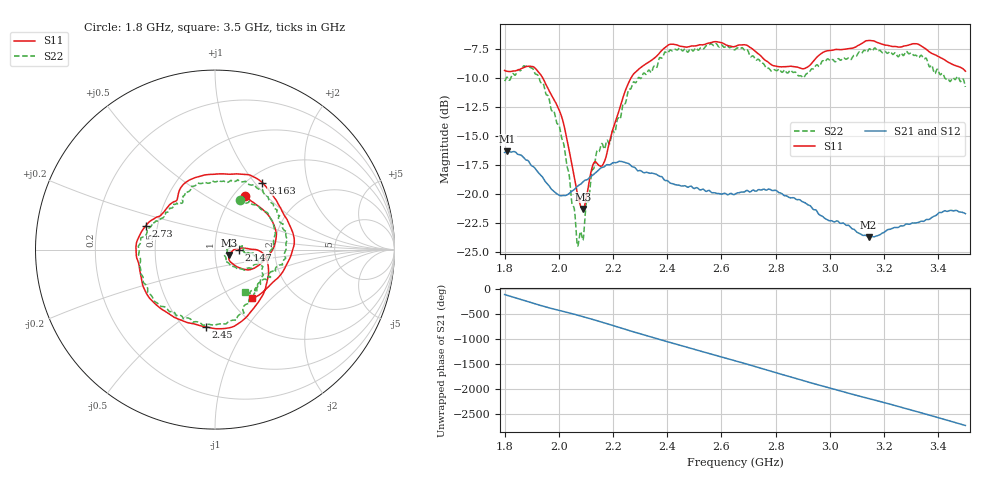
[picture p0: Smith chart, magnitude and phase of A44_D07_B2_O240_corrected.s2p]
! Created with skrf 1.9.0 (http://scikit-rf.org).
# Hz S RI R 50.0
!freq ReS11 ImS11 ReS21 ImS21 ReS12 ImS12 ReS22 ImS22
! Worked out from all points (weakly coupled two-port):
!   1601 points, 1.8 GHz to 3.5 GHz, reference 50 ohm
!   highest |S21| = -16.32 dB at 1.811 GHz (marker M1); lowest = -23.7 dB at 3.143 GHz (marker M2)
!   lowest |S11| = -21.3 dB at 2.089 GHz (marker M3), VSWR 1.19, Z = 58.7 - j3.51 ohm
!   |S11| at or under -10 dB: 1.941 GHz to 2.266 GHz (325.2 MHz wide, 15.5 % of centre)
!   |S22| runs from -24.5 to -7.0 dB; largest |S21 - S12| = 0.0029
!   S11 on the Smith chart (normalised r, x): 1.8 GHz: 1.12, +0.76; 2.147 GHz: 1.31, -0.01; 2.45 GHz: 0.63, -0.67; 2.73 GHz: 0.43, +0.14; 3.163 GHz: 1.16, +1.10; 3.5 GHz: 1.27, -0.76
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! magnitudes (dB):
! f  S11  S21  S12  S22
! 1.8 GHz  -9.3  -16.4  -16.4  -10.3
! 1.811 GHz  -9.4  -16.3  -16.3  -9.9
! 1.882 GHz  -9.0  -17.1  -17.1  -9.0
! 1.942 GHz  -10.1  -18.6  -18.6  -10.5
! 2.011 GHz  -13.4  -20.2  -20.2  -15.3
! 2.068 GHz  -19.9  -19.4  -19.4  -24.4
! 2.084 GHz  -21.2  -19.1  -19.1  -23.5
! 2.089 GHz  -21.3  -19.0  -19.0  -24.0
! 2.125 GHz  -17.5  -18.4  -18.4  -17.9
! 2.147 GHz  -17.5  -17.9  -17.9  -16.4
! 2.189 GHz  -15.3  -17.5  -17.5  -15.6
! 2.265 GHz  -10.0  -17.5  -17.5  -10.9
! 2.367 GHz  -7.9  -18.4  -18.4  -8.5
! 2.45 GHz  -7.3  -19.3  -19.3  -7.5
! 2.65 GHz  -7.3  -20.0  -20.0  -7.6
! 2.73 GHz  -7.8  -19.8  -19.8  -8.4
! 2.934 GHz  -8.7  -21.2  -21.2  -9.2
! 3.143 GHz  -6.8  -23.7  -23.6  -7.5
! 3.163 GHz  -6.8  -23.7  -23.7  -7.4
! 3.217 GHz  -7.2  -23.1  -23.1  -7.8
! 3.324 GHz  -7.1  -22.5  -22.4  -8.2
! 3.5 GHz  -9.4  -21.7  -21.7  -10.8
